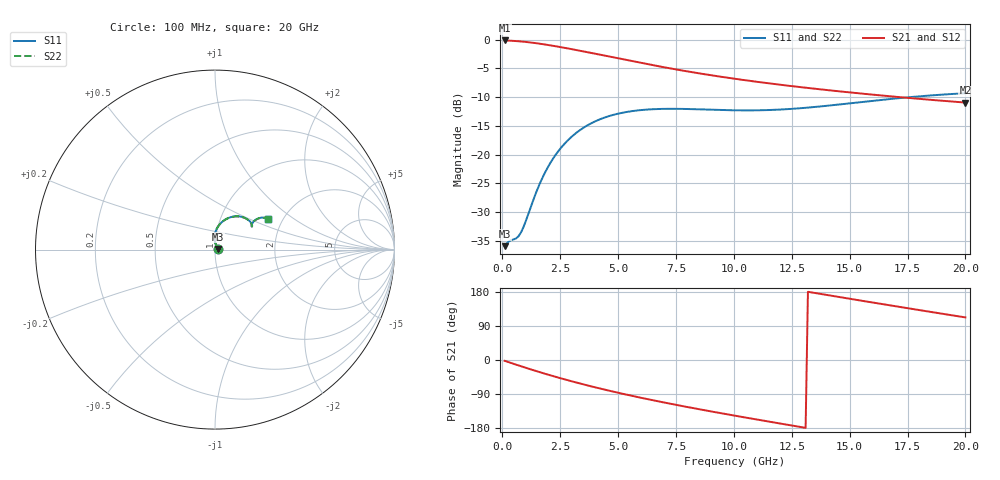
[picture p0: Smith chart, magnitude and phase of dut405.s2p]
! Touchstone file exported from HFSS 2024.1.0
!  File:  C:/UserFiles/LocalFiles/RDL_TSV_Batchsim/temp_RDL_TSV_405_1779712184.aedt
!  Generated:  08:55:10 PM May 25, 2026
!  Design:  RDL_TSV
!  Project:  temp_RDL_TSV_405_1779712184
!  Setup:  Setup1
!  Solution:  Sweep
! Variables:
!  dtsv = 8.49um
!  hbump = 3um
!  htsv = 83.5um
!  ldown = 352.14um
!  lrdl = 639.88um
!  p = 40
!  p1 = 51.18um
!  rhole = 10um
!  subl = 3615.94um
!  t = 450um
!  tdown = 4.45um
!  trdl = 3.42um
!  viad = 10um
!  wdown = 22.64um
!  wrdl = 24.37um
!  xbump = 18um
# GHz S MA R 50.000000
! Terminal data exported
! Port[1] = TM1_1_T1
! Port[2] = TM1_4_T1
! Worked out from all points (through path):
!   200 points, 100 MHz to 20 GHz, reference 50 ohm
!   highest |S21| = -0.14 dB at 100 MHz (marker M1); lowest = -11.0 dB at 20 GHz (marker M2)
!   group delay of S21, straight-line fit = 32.6 ps
!   lowest |S11| = -35.9 dB at 100 MHz (marker M3), VSWR 1.03, Z = 51.6 + j0.292 ohm
!   |S11| at or under -10 dB: start of sweep to 17.63 GHz
!   |S22| runs from -35.9 to -9.4 dB; largest |S21 - S12| = 1.4e-14
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0.1  0.01595 10.2  0.9838 -2.1  0.9838 -2.1  0.01595 10.2
! Gamma 0 0 0 0
! Port Impedance 50 0 50 0
0.3  0.01764 23.5  0.98 -6.3  0.98 -6.3  0.01765 23.5
0.6  0.01866 43.5  0.9717 -12.4  0.9717 -12.4  0.01868 43.4
0.8  0.02086 60.5  0.9645 -16.4  0.9645 -16.4  0.02088 60.4
1  0.02588 75.4  0.9558 -20.3  0.9558 -20.3  0.02588 75.2
1.5  0.04892 91.4  0.9289 -29.9  0.9289 -29.9  0.04886 91.3
1.8  0.06688 92.3  0.9102 -35.5  0.9102 -35.5  0.06678 92.2
2.2  0.09267 89.5  0.8834 -42.6  0.8834 -42.6  0.09251 89.4
2.6  0.1186 84.9  0.8552 -49.6  0.8552 -49.6  0.1184 84.8
3.5  0.1708 72.7  0.7903 -64.3  0.7903 -64.3  0.1705 72.7
4.2  0.202 63.7  0.7408 -75.0  0.7408 -75.0  0.2017 63.7
5.1  0.2292 53.7  0.6809 -87.8  0.6809 -87.8  0.2288 53.7
5.9  0.2428 46.5  0.6325 -98.5  0.6325 -98.5  0.2424 46.5
6.8  0.2493 40.3  0.584 -109.9  0.584 -109.9  0.2489 40.2
8.4  0.2478 33.7  0.5129 -128.8  0.5129 -128.8  0.2474 33.7
10.1  0.2426 32.0  0.4547 -147.5  0.4547 -147.5  0.2422 32.0
11.7  0.2448 33.4  0.4121 -164.5  0.4121 -164.5  0.2443 33.4
13.4  0.2583 35.5  0.3757 177.9  0.3757 177.9  0.2577 35.4
15.1  0.2804 36.3  0.3458 160.6  0.3458 160.6  0.2796 36.2
16.7  0.3035 35.4  0.3221 144.6  0.3221 144.6  0.3026 35.3
18.3  0.3246 33.3  0.3017 128.9  0.3017 128.9  0.3234 33.2
20  0.3416 30.4  0.2834 112.4  0.2834 112.4  0.3403 30.3
